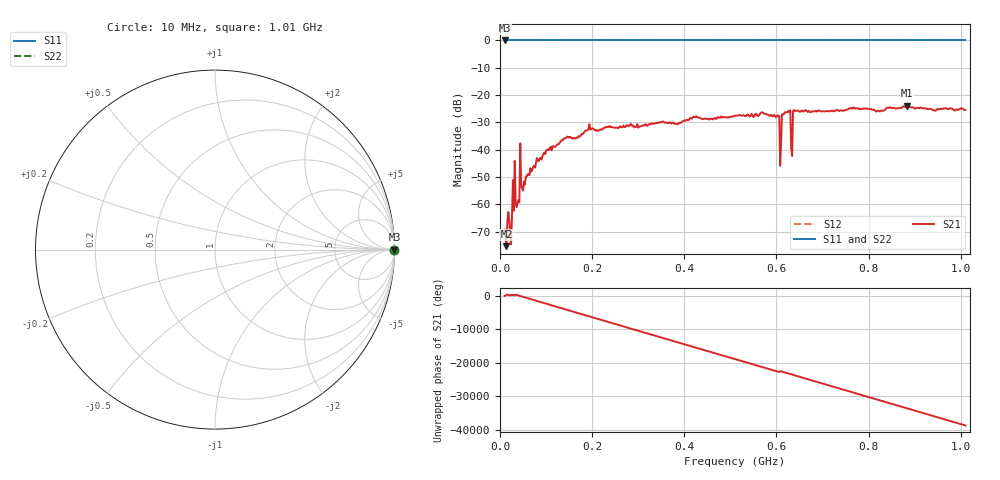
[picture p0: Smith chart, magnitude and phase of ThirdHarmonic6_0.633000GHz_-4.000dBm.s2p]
! 8/15/2025 8:53:19 PM
! C:\ANRITSUVNA\TEMP\TEMP.S2P
! CHANNEL.1
! TR.MEASUREMENT
! RAW.DATA
! RF.CORRECTION.OFF
! AVERAGING.OFF
! IF.BANDWIDTH: 5KHZ
! SWEEPTYPE:  FREQ.SWEEP(Linear)
! Reference Plane Port Info
! PORT:  PORT1  PORT2
! DISTANCE:  0  m  0  m
! TIME:  0  s  0  s
! PHASE.OFFSET:  0  deg.  0  deg.
! LOSS:  0  dB  0  dB
! REF.LOSS:  0  dB  0  dB
! REF.FREQ:  0  Hz  0  Hz
! Power Info
! POWER:  -20  dBm  -20  dBm
! EFF.POWER:  -20  dBm  -20  dBm
! SOURCE.ATTEN:  0  dB  0  dB
! TEST.ATTEN:  0  dB  0  dB
# GHZ S RI R 50.0
! FREQ.GHZ  S11RE  S11IM  S21RE  S21IM  S12RE  S12IM  S22RE  S22IM
!; PortSelection: Port_12
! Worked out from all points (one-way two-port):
!   501 points, 10 MHz to 1.01 GHz, reference 50 ohm
!   highest |S21| = -23.90 dB at 884 MHz (marker M1); lowest = -75.2 dB at 14 MHz (marker M2)
!   lowest |S11| = 0.0 dB at 10 MHz (marker M3)
!   |S11| at or under -10 dB: nowhere
!   |S22| runs from 0.0 to 0.0 dB; largest |S21 - S12| = 1.1
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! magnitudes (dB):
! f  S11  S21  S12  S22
! 10 MHz  0.0  -69.2  0.0  0.0
! 14 MHz  0.0  -75.2  0.0  0.0
! 26 MHz  0.0  -64.6  0.0  0.0
! 30 MHz  0.0  -62.3  0.0  0.0
! 38 MHz  0.0  -59.7  0.0  0.0
! 48 MHz  0.0  -54.0  0.0  0.0
! 50 MHz  0.0  -54.9  0.0  0.0
! 106 MHz  0.0  -40.1  0.0  0.0
! 178 MHz  0.0  -34.1  0.0  0.0
! 344 MHz  0.0  -30.1  0.0  0.0
! 510 MHz  0.0  -27.6  0.0  0.0
! 602 MHz  0.0  -27.4  0.0  0.0
! 606 MHz  0.0  -27.6  0.0  0.0
! 612 MHz  0.0  -27.0  0.0  0.0
! 616 MHz  0.0  -27.0  0.0  0.0
! 626 MHz  0.0  -25.8  0.0  0.0
! 632 MHz  0.0  -39.4  0.0  0.0
! 640 MHz  0.0  -25.8  0.0  0.0
! 678 MHz  0.0  -25.9  0.0  0.0
! 844 MHz  0.0  -24.6  0.0  0.0
! 884 MHz  0.0  -23.9  0.0  0.0
! 1.01 GHz  0.0  -25.4  0.0  0.0
